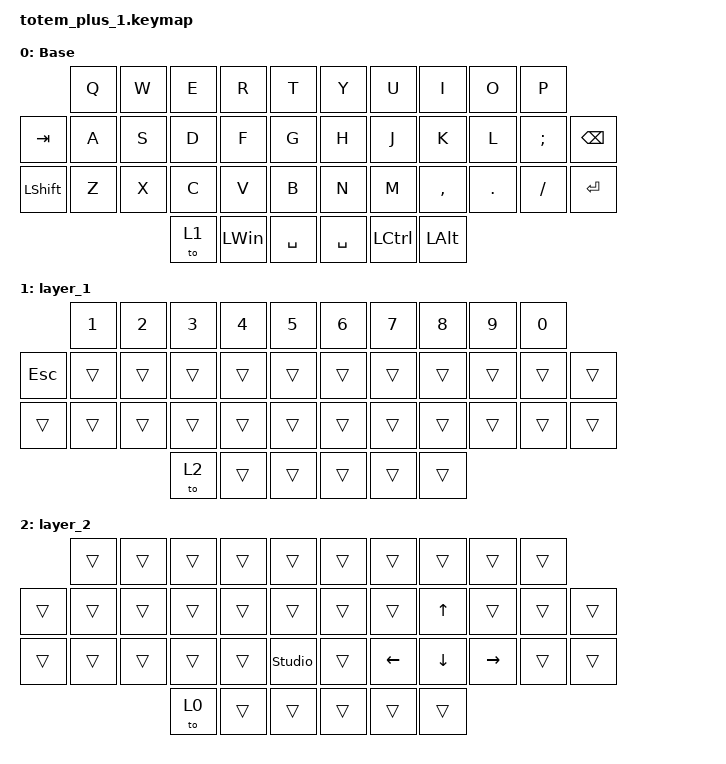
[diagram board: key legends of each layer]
#include <behaviors.dtsi>
#include <dt-bindings/zmk/keys.h>

/ {
    keymap {
        compatible = "zmk,keymap";

        default_layer {
            display-name = "Base";
            bindings = <
                &kp Q  &kp W  &kp E  &kp R         &kp T      &kp Y      &kp U             &kp I      &kp O    &kp P
&kp TAB         &kp A  &kp S  &kp D  &kp F         &kp G      &kp H      &kp J             &kp K      &kp L    &kp SEMI  &kp BSPC
&kp LEFT_SHIFT  &kp Z  &kp X  &kp C  &kp V         &kp B      &kp N      &kp M             &kp COMMA  &kp DOT  &kp FSLH  &kp RET
                              &to 1  &kp LEFT_WIN  &kp SPACE  &kp SPACE  &kp LEFT_CONTROL  &kp LALT
            >;
        };

        layer_1 {
            bindings = <
         &kp N1  &kp N2  &kp N3  &kp N4  &kp N5  &kp N6  &kp N7  &kp N8  &kp N9  &kp N0
&kp ESC  &trans  &trans  &trans  &trans  &trans  &trans  &trans  &trans  &trans  &trans  &trans
&trans   &trans  &trans  &trans  &trans  &trans  &trans  &trans  &trans  &trans  &trans  &trans
                         &to 2   &trans  &trans  &trans  &trans  &trans
            >;
        };

        layer_2 {
            bindings = <
        &trans  &trans  &trans  &trans  &trans          &trans  &trans    &trans    &trans     &trans
&trans  &trans  &trans  &trans  &trans  &trans          &trans  &trans    &kp UP    &trans     &trans  &trans
&trans  &trans  &trans  &trans  &trans  &studio_unlock  &trans  &kp LEFT  &kp DOWN  &kp RIGHT  &trans  &trans
                        &to 0   &trans  &trans          &trans  &trans    &trans
            >;
        };

        extra_layer_3 {
            status = "reserved";
        };

        extra_layer_4 {
            status = "reserved";
        };
    };
};
